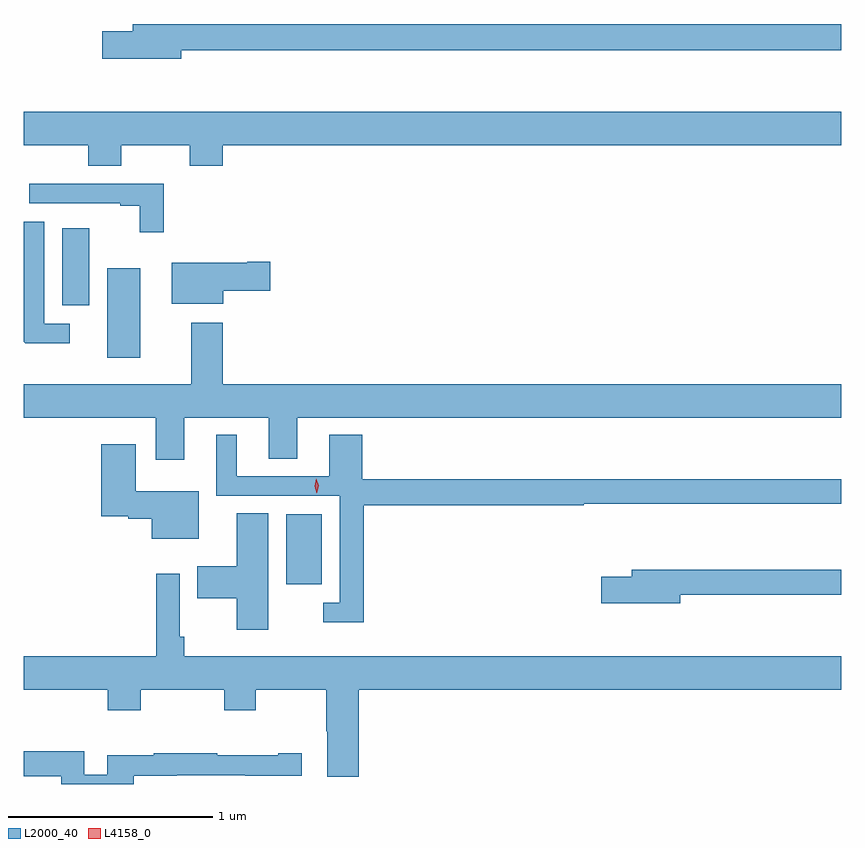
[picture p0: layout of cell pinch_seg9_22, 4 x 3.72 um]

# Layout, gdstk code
import gdstk
lib = gdstk.Library(unit=1e-6, precision=1e-09)
def R(c, l, rs):  # rectangles x0, y0, x1, y1
    for r in rs: c.add(gdstk.rectangle(r[:2], r[2:], *l))
def P(c, l, *ps):  # polygons
    for p in ps: c.add(gdstk.Polygon(p, *l))
L2000_40 = (2000, 40)
L4158_0 = (4158, 0)

pinch_seg9_22 = lib.new_cell('pinch_seg9_22')
R(pinch_seg9_22, L2000_40, [(959.222,1236.896,959.395,1237.24), (958.346,1238.004,958.507,1238.443), (958.124,1238.262,958.258,1238.638)])
P(pinch_seg9_22, L2000_40, [(958.708,1239.51),(961.937,1239.51),(961.937,1239.638),(958.469,1239.638),(958.469,1239.602),(958.32,1239.602),(958.32,1239.467),(958.708,1239.467)],
  [(958.413,1239.044),(958.75,1239.044),(958.75,1238.945),(958.91,1238.945),(958.91,1239.044),(961.937,1239.044),(961.937,1239.208),(957.937,1239.208),(957.937,1239.044),(958.253,1239.044),(958.253,1238.945),(958.413,1238.945)],
  [(958.622,1238.856),(957.963,1238.856),(957.963,1238.76),(958.409,1238.76),(958.409,1238.748),(958.504,1238.748),(958.504,1238.619),(958.622,1238.619)],
  [(958.162,1238.172),(958.036,1238.172),(958.036,1238.67),(957.937,1238.67),(957.937,1238.082),(957.944,1238.075),(958.162,1238.075)],
  [(958.912,1238.332),(959.143,1238.332),(959.143,1238.474),(959.03,1238.474),(959.03,1238.469),(958.661,1238.469),(958.661,1238.27),(958.912,1238.27)],
  [(958.723,1237.712),(959.135,1237.712),(959.135,1237.51),(959.275,1237.51),(959.275,1237.712),(961.937,1237.712),(961.937,1237.876),(958.91,1237.876),(958.91,1238.176),(958.757,1238.176),(958.757,1237.876),(957.937,1237.876),(957.937,1237.712),(958.583,1237.712),(958.583,1237.506),(958.723,1237.506)],
  [(959.6,1237.282),(960.677,1237.282),(960.677,1237.29),(961.937,1237.29),(961.937,1237.411),(959.594,1237.411),(959.594,1237.627),(959.432,1237.627),(959.432,1237.425),(958.978,1237.425),(958.978,1237.627),(958.88,1237.627),(958.88,1237.329),(959.484,1237.329),(959.484,1236.807),(959.403,1236.807),(959.403,1236.71),(959.6,1236.71)],
  [(958.792,1237.351),(958.486,1237.351),(958.486,1237.582),(958.316,1237.582),(958.316,1237.229),(958.449,1237.229),(958.449,1237.217),(958.562,1237.217),(958.562,1237.118),(958.792,1237.118)],
  [(959.134,1237.244),(958.979,1237.244),(958.979,1236.985),(958.786,1236.985),(958.786,1236.827),(958.979,1236.827),(958.979,1236.675),(959.134,1236.675)],
  [(961.15,1236.846),(961.937,1236.846),(961.937,1236.967),(960.911,1236.967),(960.911,1236.933),(960.762,1236.933),(960.762,1236.803),(961.15,1236.803)],
  [(959.576,1236.38),(961.937,1236.38),(961.937,1236.544),(958.721,1236.544),(958.721,1236.64),(958.701,1236.64),(958.701,1236.949),(958.585,1236.949),(958.585,1236.544),(957.937,1236.544),(957.937,1236.38),(958.349,1236.38),(958.349,1236.281),(958.509,1236.281),(958.509,1236.38),(958.918,1236.38),(958.918,1236.281),(959.073,1236.281),(959.073,1236.38),(959.416,1236.38),(959.416,1236.176),(959.423,1236.176),(959.423,1235.955),(959.576,1235.955)],
  [(958.476,1235.96),(958.686,1235.96),(958.686,1235.961),(959.02,1235.961),(959.02,1235.96),(959.296,1235.96),(959.296,1236.07),(959.183,1236.07),(959.183,1236.06),(958.883,1236.06),(958.883,1236.07),(958.573,1236.07),(958.573,1236.06),(958.346,1236.06),(958.346,1235.965),(958.233,1235.965),(958.233,1236.079),(957.937,1236.079),(957.937,1235.958),(958.121,1235.958),(958.121,1235.919),(958.476,1235.919)])
P(pinch_seg9_22, L4158_0, [(959.371,1237.341),(959.371,1237.341),(959.36,1237.377),(959.368,1237.413),(959.368,1237.413),(959.369,1237.413),(959.38,1237.378),(959.371,1237.341)])

lib.write_gds('pinch_seg9_22.gds')
